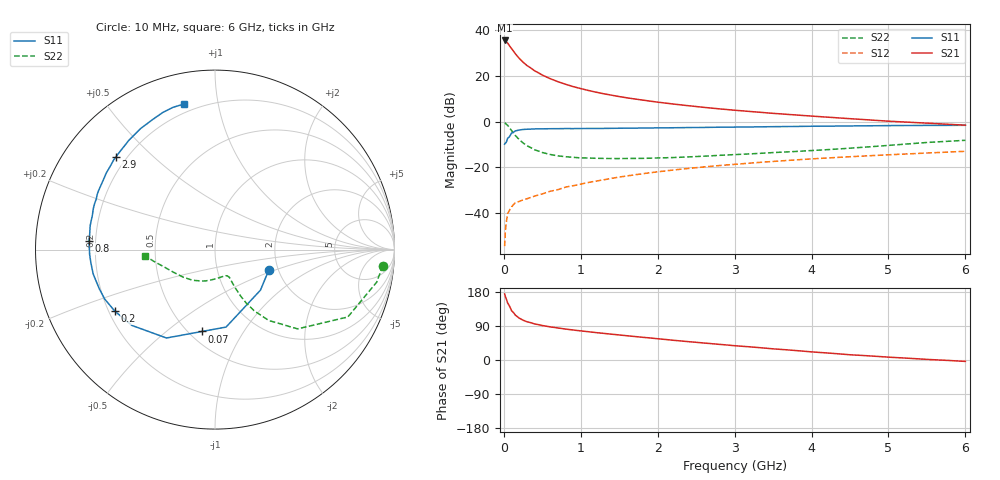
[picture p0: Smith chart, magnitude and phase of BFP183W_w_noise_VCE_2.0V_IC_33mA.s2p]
! Infineon Technologies  Discrete & RF Semiconductors
! BFP183W
! VCE =  2.0 V,  IC =  33 mA
! Common Emitter S-Parameters:  Jan 2017
# GHz  S  MA  R  50
!  f  S11  S21  S12  S22
! GHz  MAG  ANG  MAG  ANG  MAG  ANG  MAG  ANG
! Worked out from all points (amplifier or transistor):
!   77 points, 10 MHz to 6 GHz, reference 50 ohm
!   highest |S21| = 35.4 dB at 10 MHz (marker M1)
!   |S21| within 3 dB of that: start of sweep to 87.71 MHz
!   unconditionally stable (mu >= 1): 666.7 MHz to 3.736 GHz
!   at 130 MHz: K = 0.37, MSG = 33.3 dB, |S12| = -36.1 dB
!   at 2.2 GHz: K = 1.10, MAG = 12.5 dB, |S12| = -21.2 dB
!   at 6 GHz: K = 0.89, MSG = 5.7 dB, |S12| = -13.0 dB
!   lowest NFmin = 1.47 dB at 450 MHz
!   S11 on the Smith chart (normalised r, x): 10 MHz: 1.79, -0.45; 70 MHz: 0.58, -0.67; 200 MHz: 0.22, -0.27; 800 MHz: 0.17, +0.03; 2.9 GHz: 0.16, +0.39; 6 GHz: 0.15, +0.80
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0.01  0.3208 -20.5  59.2 174.3  0.0019 79.8  0.9391 -5.5
0.02  0.3393 -41.7  58.31 167.2  0.0041 85.4  0.919 -11.4
0.05  0.436 -81.9  51.72 150.2  0.0098 68.3  0.8298 -26.9
0.07  0.4615 -98.9  46.16 143.5  0.0113 61.8  0.7457 -32.6
0.1  0.5619 -118.8  39.42 130.2  0.0137 54.9  0.6378 -43.8
0.15  0.6267 -137.6  30.25 118.3  0.017 47.4  0.4961 -52.8
0.2  0.6549 -148.4  24.07 110.5  0.018 47.0  0.4041 -57.4
0.25  0.6736 -155.9  19.85 105.0  0.0196 45.1  0.3413 -59.8
0.3  0.6807 -161.4  16.8 101.0  0.0206 46.9  0.2976 -61.1
0.4  0.6922 -168.7  12.88 95.1  0.0236 49.8  0.2429 -62.1
0.5  0.6953 -173.8  10.38 91.0  0.0263 52.9  0.2116 -62.4
0.6  0.699 -177.7  8.705 87.5  0.03 54.0  0.1919 -62.6
0.7  0.7002 179.2  7.471 84.6  0.0325 57.8  0.1783 -62.5
0.8  0.704 176.1  6.556 81.7  0.037 60.3  0.1713 -63.0
1.1  0.7082 169.0  4.784 74.6  0.0469 62.2  0.1601 -66.0
1.5  0.716 160.9  3.519 66.1  0.0614 63.6  0.1558 -72.7
2.1  0.7307 149.7  2.539 54.2  0.0836 62.2  0.1621 -87.7
2.9  0.7559 137.0  1.834 39.6  0.113 58.3  0.1864 -110.3
3.1  0.7609 134.0  1.716 36.2  0.1201 57.1  0.1935 -115.8
4.1  0.7931 120.5  1.285 20.0  0.1567 50.8  0.2382 -141.2
5.1  0.819 109.9  1.001 6.4  0.1916 44.0  0.311 -163.4
6  0.8296 102.0  0.835 -3.7  0.2243 37.5  0.3904 -174.9
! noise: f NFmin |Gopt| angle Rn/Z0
0.45  1.47  0.28  -179  0.1
0.9  1.51  0.31  -177  0.1
1.9  2  0.46  -156  0.11
2.4  2.24  0.51  -151  0.16
